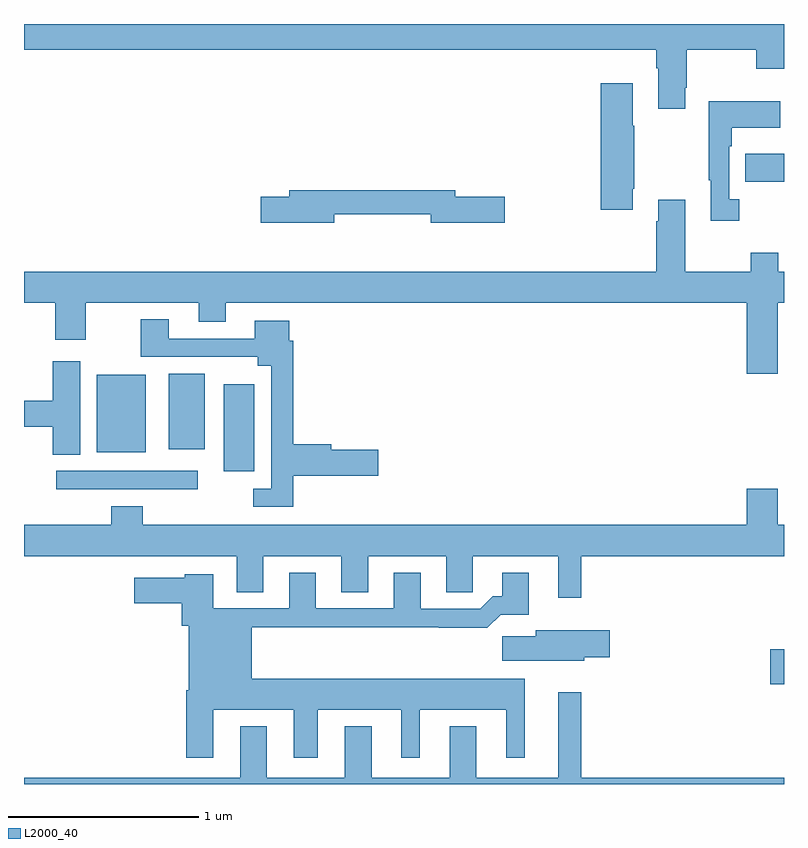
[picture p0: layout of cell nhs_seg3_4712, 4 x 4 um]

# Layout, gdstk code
import gdstk
lib = gdstk.Library(unit=1e-6, precision=1e-09)
def R(c, l, rs):  # rectangles x0, y0, x1, y1
    for r in rs: c.add(gdstk.rectangle(r[:2], r[2:], *l))
def P(c, l, *ps):  # polygons
    for p in ps: c.add(gdstk.Polygon(p, *l))
L2000_40 = (2000, 40)

nhs_seg3_4712 = lib.new_cell('nhs_seg3_4712')
R(nhs_seg3_4712, L2000_40, [(368.928,682.925,369,683.108), (365.169,683.952,365.914,684.048), (366.05,684.047,366.211,684.505), (365.384,684.146,365.641,684.553), (365.762,684.161,365.95,684.559), (368.797,685.57,369,685.717)])
P(nhs_seg3_4712, L2000_40, [(368.479,686.065),(368.487,686.065),(368.487,686.264),(368.854,686.264),(368.854,686.165),(369,686.165),(369,686.4),(365,686.4),(365,686.264),(368.327,686.264),(368.327,686.168),(368.339,686.168),(368.339,685.953),(368.479,685.953)],
  [(368.203,685.534),(368.211,685.534),(368.211,685.865),(368.203,685.865),(368.203,686.089),(368.036,686.089),(368.036,685.422),(368.203,685.422)],
  [(368.764,685.478),(368.712,685.478),(368.712,685.757),(368.725,685.757),(368.725,685.853),(368.981,685.853),(368.981,685.993),(368.604,685.993),(368.604,685.577),(368.615,685.577),(368.615,685.365),(368.764,685.365)],
  [(366.634,685.398),(367.142,685.398),(367.142,685.355),(367.531,685.355),(367.531,685.49),(367.27,685.49),(367.27,685.526),(366.395,685.526),(366.395,685.49),(366.246,685.49),(366.246,685.355),(366.634,685.355)],
  [(368.968,684.932),(369,684.932),(369,685.096),(368.971,685.096),(368.971,685.195),(368.824,685.195),(368.824,685.096),(368.479,685.096),(368.479,685.474),(368.339,685.474),(368.339,685.361),(368.327,685.361),(368.327,685.096),(365,685.096),(365,684.932),(365.165,684.932),(365.165,684.738),(365.325,684.738),(365.325,684.932),(365.921,684.932),(365.921,684.833),(366.061,684.833),(366.061,684.932),(368.804,684.932),(368.804,684.558),(368.968,684.558)],
  [(366.416,684.023),(366.865,684.023),(366.865,684.158),(366.616,684.158),(366.616,684.187),(366.416,684.187),(366.416,684.734),(366.397,684.734),(366.397,684.838),(366.215,684.838),(366.215,684.744),(365.761,684.744),(365.761,684.847),(365.614,684.847),(365.614,684.648),(366.23,684.648),(366.23,684.602),(366.3,684.602),(366.3,683.955),(366.207,683.955),(366.207,683.859),(366.416,683.859)],
  [(365.296,684.625),(365.15,684.625),(365.15,684.416),(365,684.416),(365,684.28),(365.15,684.28),(365.15,684.133),(365.296,684.133)],
  [(367.933,683.6),(369,683.6),(369,683.764),(368.968,683.764),(368.968,683.953),(368.804,683.953),(368.804,683.764),(365.624,683.764),(365.624,683.863),(365.459,683.863),(365.459,683.764),(365,683.764),(365,683.6),(366.119,683.6),(366.119,683.41),(366.259,683.41),(366.259,683.6),(366.671,683.6),(366.671,683.41),(366.811,683.41),(366.811,683.6),(367.223,683.6),(367.223,683.41),(367.362,683.41),(367.362,683.6),(367.811,683.6),(367.811,683.379),(367.933,683.379)],
  [(365.995,682.79),(366.419,682.79),(366.419,682.539),(366.547,682.539),(366.547,682.79),(366.986,682.79),(366.986,682.539),(367.084,682.539),(367.084,682.79),(367.538,682.79),(367.538,682.539),(367.636,682.539),(367.636,682.954),(366.199,682.954),(366.199,683.224),(367.183,683.224),(367.183,683.222),(367.439,683.222),(367.508,683.291),(367.657,683.291),(367.657,683.512),(367.517,683.512),(367.517,683.389),(367.468,683.389),(367.401,683.322),(367.087,683.322),(367.087,683.512),(366.947,683.512),(366.947,683.325),(366.535,683.325),(366.535,683.512),(366.395,683.512),(366.395,683.325),(365.995,683.325),(365.995,683.503),(365.847,683.503),(365.847,683.485),(365.58,683.485),(365.58,683.351),(365.831,683.351),(365.831,683.232),(365.867,683.232),(365.867,682.894),(365.855,682.894),(365.855,682.539),(365.995,682.539)],
  [(367.948,683.066),(368.083,683.066),(368.083,683.209),(367.694,683.209),(367.694,683.177),(367.518,683.177),(367.518,683.048),(367.948,683.048)],
  [(369,682.432),(367.933,682.432),(367.933,682.882),(367.811,682.882),(367.811,682.432),(367.381,682.432),(367.381,682.705),(367.241,682.705),(367.241,682.432),(366.829,682.432),(366.829,682.705),(366.689,682.705),(366.689,682.432),(366.277,682.432),(366.277,682.705),(366.137,682.705),(366.137,682.432),(365,682.432),(365,682.4),(369,682.4)])

lib.write_gds('nhs_seg3_4712.gds')
